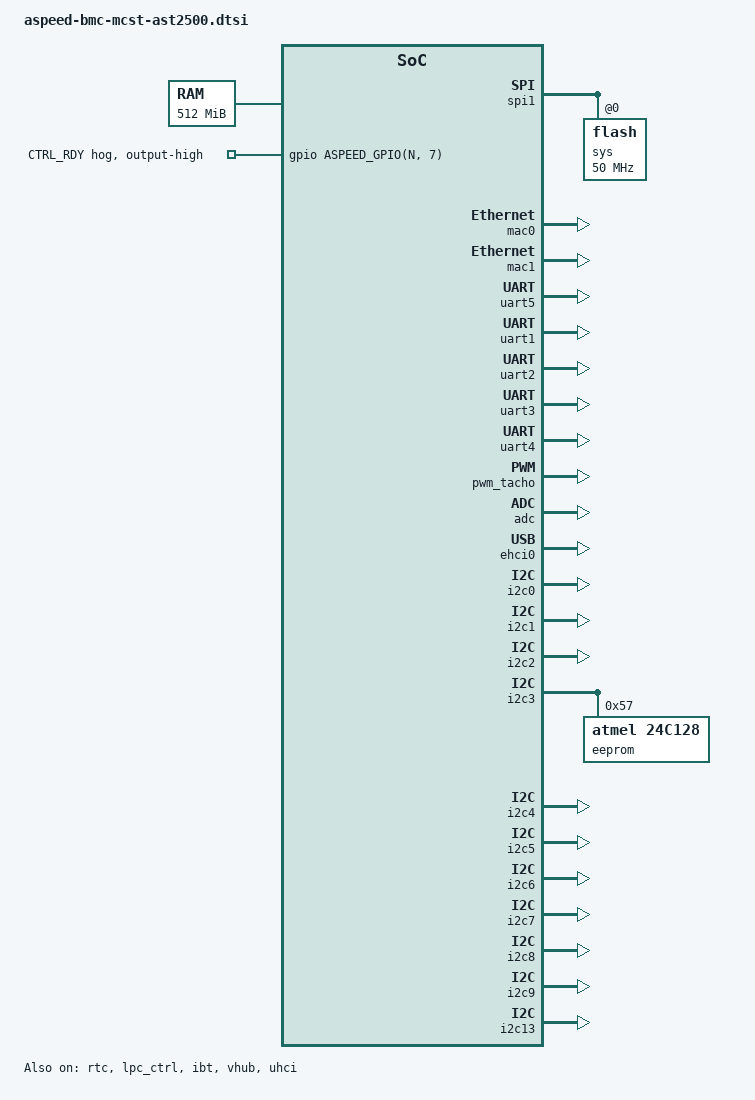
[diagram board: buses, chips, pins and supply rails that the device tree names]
// SPDX-License-Identifier: GPL-2.0+

#include "aspeed-g5.dtsi"
#include <dt-bindings/gpio/aspeed-gpio.h>

/ {
	memory {
		reg = <0x40000000 0x20000000>;
	};

	reserved-memory {
		#address-cells = <1>;
		#size-cells = <1>;
		ranges;

		vga_memory: framebuffer@5f000000 {
			no-map;
			reg = <0x5f000000 0x01000000>; /* 16MB */
		};
		flash_memory: region@5c000000 {
			no-map;
			reg = <0x5c000000 0x02000000>; /* 32M */
		};
	};
};

&rtc {
	status = "okay";
};

&gpio {
	gpioready {
		gpios = <ASPEED_GPIO(N, 7) GPIO_ACTIVE_HIGH>;
		gpio-hog;
		output-high;
		line-name = "CTRL_RDY";
	};
};

&spi1 {
	status = "okay";
	pinctrl-names = "default";
	pinctrl-0 = <&pinctrl_spi1_default>;
	flash@0 {
		status = "okay";
		label = "sys";
		m25p,fast-read;
		spi-max-frequency = <50000000>;
	};
};

&mac0 {
	status = "okay";
};

&mac1 {
	status = "okay";
};

&uart5 {
	status = "okay";
};

&lpc_ctrl {
	status = "okay";
	memory-region = <&flash_memory>;
	flash = <&spi1>;
};

&ibt {
	status = "okay";
};

&uart1 {
	status = "okay";
	pinctrl-names = "default";
	pinctrl-0 = <&pinctrl_txd1_default &pinctrl_rxd1_default>;
};

&uart2 {
	status = "okay";
	pinctrl-names = "default";
	pinctrl-0 = <&pinctrl_txd2_default &pinctrl_rxd2_default>;
};

&uart3 {
	status = "okay";
	pinctrl-names = "default";
	pinctrl-0 = <&pinctrl_txd3_default &pinctrl_rxd3_default>;
};

&uart4 {
	status = "okay";
	pinctrl-names = "default";
	pinctrl-0 = <&pinctrl_txd4_default &pinctrl_rxd4_default>;
};

&pwm_tacho {
	status = "okay";
	fan@0 {
		reg = <0x00>;
		aspeed,fan-tach-ch = /bits/ 8 <0x07>;
	};
	fan@1 {
		reg = <0x01>;
		aspeed,fan-tach-ch = /bits/ 8 <0x08>;
	};
	fan@2 {
		reg = <0x02>;
		aspeed,fan-tach-ch = /bits/ 8 <0x09>;
	};
	fan@3 {
		reg = <0x03>;
		aspeed,fan-tach-ch = /bits/ 8 <0x0a>;
	};
	fan@4 {
		reg = <0x04>;
		aspeed,fan-tach-ch = /bits/ 8 <0x0c>;
	};
	fan@5 {
		reg = <0x05>;
		aspeed,fan-tach-ch = /bits/ 8 <0x0d>;
	};
	fan@6 {
		reg = <0x06>;
		aspeed,fan-tach-ch = /bits/ 8 <0x0e>;
	};
	fan@7 {
		reg = <0x07>;
		aspeed,fan-tach-ch = /bits/ 8 <0x0f>;
	};
};

&adc {
	status = "okay";
};

&vhub {
	status = "okay";
};

&uhci {
	status = "okay";
};

&ehci0 {
	status = "okay";
};

&i2c0 {
	status = "okay";
};

&i2c1 {
	status = "okay";
};

&i2c2 {
	status = "okay";
};

&i2c3 {
	status = "okay";

	eeprom@57 {
		compatible = "atmel,24c128";
		reg = <0x57>;
		pagesize = <16>;
	};
};

&i2c4 {
	status = "okay";
};

&i2c5 {
	status = "okay";
};

&i2c6 {
	status = "okay";
};

&i2c7 {
	status = "okay";
};

&i2c8 {
	status = "okay";
};

&i2c9 {
	status = "okay";
};

&i2c13 {
	status = "okay";
};
